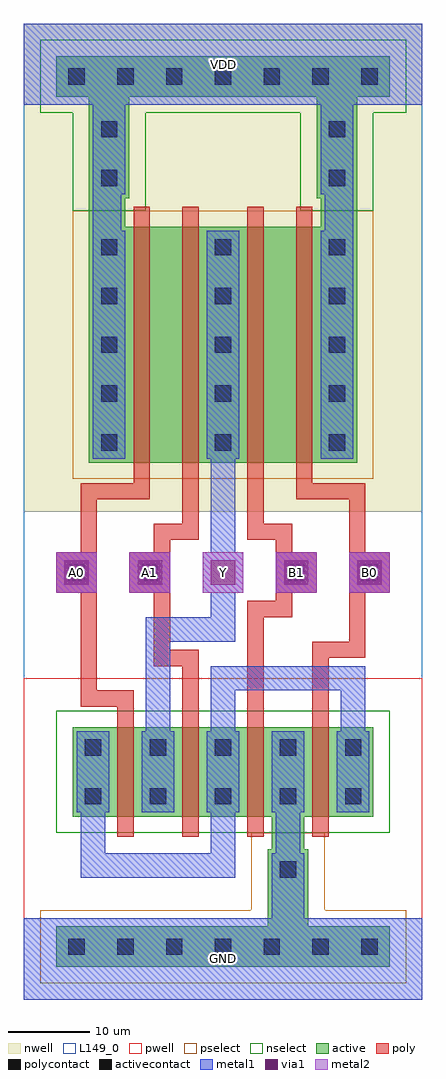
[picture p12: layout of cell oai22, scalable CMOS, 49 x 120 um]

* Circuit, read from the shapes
.subckt oai22 A0 A1 B0 B1 GND VDD Y
M1 Y A0 n1 GND nfet w=11u l=2u
M2 n1 A1 Y GND nfet w=11u l=2u
M3 GND B1 n1 GND nfet w=11u l=2u
M4 n1 B0 GND GND nfet w=11u l=2u
M5 n2 A0 VDD VDD pfet w=29u l=2u
M6 Y A1 n2 VDD pfet w=29u l=2u
M7 n3 B1 Y VDD pfet w=29u l=2u
M8 VDD B0 n3 VDD pfet w=29u l=2u
.ends

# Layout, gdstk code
import gdstk
lib = gdstk.Library(unit=1e-6, precision=1e-09)
def R(c, l, rs):  # rectangles x0, y0, x1, y1
    for r in rs: c.add(gdstk.rectangle(r[:2], r[2:], *l))
def A(c, l, x, y, w, h, nx, ny, dx, dy):  # array of equal rectangles
    R(c, l, [(x+i*dx, y+j*dy, x+i*dx+w, y+j*dy+h) for i in range(nx) for j in range(ny)])
pwell = (41, 0)
nwell = (42, 0)
active = (43, 0)
pselect = (44, 0)
nselect = (45, 0)
poly = (46, 0)
polycontact = (47, 0)
activecontact = (48, 0)
metal1 = (49, 0)
via1 = (50, 0)
metal2 = (51, 0)
L149_0 = (149, 0)

via = lib.new_cell('via')
R(via, metal1, [(-2.5,-2.5,2.5,2.5)])
R(via, via1, [(-1.5,-1.5,1.5,1.5)])
R(via, metal2, [(-2.5,-2.5,2.5,2.5)])

oai22 = lib.new_cell('oai22')
R(oai22, pwell, [(0,0,49,37), (0,16.5,49,39.5)])
R(oai22, nwell, [(0,60,49,120), (2,60,47,101)])
R(oai22, active, [(4,4,45,9), (30,9,35,18.5), (30.5,18.5,34.5,22.5), (6,22.5,43,33.5), (6,22.5,11.5,33.5), (37.5,22.5,43,33.5), (8,66,41,95), (8,66,13.5,95), (35.5,66,41,95), (8,95,12.5,98.5), (36.5,95,41,98.5), (8,98.5,13,111), (36,98.5,41,111), (4,111,45,116)])
R(oai22, pselect, [(2,2,47,11), (28,11,37,20.5), (6,64,43,97)])
R(oai22, nselect, [(4,20.5,45,35.5), (6,97,15,109), (34,97,43,109), (2,109,47,118)])
A(oai22, poly, 11.5, 20, 2, 2.5, 4, 2, 8, 13.5)
A(oai22, poly, 11.5, 22.5, 2, 11, 4, 1, 8, 0)
R(oai22, poly, [(4,50,9,55), (13,50,18,55), (31,50,36,55), (40,50,45,55), (13.5,63.5,15.5,66), (19.5,63.5,21.5,66), (27.5,63.5,29.5,66), (33.5,63.5,35.5,66), (13.5,66,15.5,95), (19.5,66,21.5,95), (27.5,66,29.5,95), (33.5,66,35.5,95), (13.5,95,15.5,97.5), (19.5,95,21.5,97.5), (27.5,95,29.5,97.5), (33.5,95,35.5,97.5)])
R(oai22, polycontact, [(5.5,51.5,7.5,53.5), (14.5,51.5,16.5,53.5), (32.5,51.5,34.5,53.5), (41.5,51.5,43.5,53.5)])
A(oai22, activecontact, 5.5, 5.5, 2, 2, 7, 2, 6, 107)
A(oai22, activecontact, 7.5, 24, 2, 2, 5, 2, 8, 6)
A(oai22, activecontact, 9.5, 67.5, 2, 2, 3, 5, 14, 6)
R(oai22, activecontact, [(31.5,15,33.5,17), (9.5,100,11.5,102), (37.5,100,39.5,102), (9.5,106,11.5,108), (37.5,106,39.5,108)])
A(oai22, metal1, 6.5, 23, 4, 10, 5, 1, 8, 0)
A(oai22, metal1, 8.5, 66.5, 4, 28, 3, 1, 14, 0)
R(oai22, metal1, [(0,0,49,10), (30.5,10,34.5,18), (31,18,34,23), (4.5,50.5,8.5,54.5), (13.5,50.5,17.5,54.5), (31.5,50.5,35.5,54.5), (40.5,50.5,44.5,54.5), (8.5,94.5,12,99), (37,94.5,40.5,99), (8.5,99,12.5,110), (36.5,99,40.5,110), (0,110,49,120)])
A(oai22, metal2, 4, 50, 5, 5, 5, 1, 9, 0)
R(oai22, L149_0, [(0,0,49,120)])
oai22.add(gdstk.FlexPath([(33.5,62.5),(41,62.5),(41,55)], 2, ends="flush", simple_path=True, layer=46, datatype=0))  # poly
oai22.add(gdstk.FlexPath([(32,55),(32,57.5),(28.5,57.5),(28.5,63.5)], 2, ends="flush", simple_path=True, layer=46, datatype=0))  # poly
oai22.add(gdstk.FlexPath([(15.5,62.5),(8,62.5),(8,55)], 2, ends="flush", simple_path=True, layer=46, datatype=0))  # poly
oai22.add(gdstk.FlexPath([(17,55),(17,57.5),(20.5,57.5),(20.5,63.5)], 2, ends="flush", simple_path=True, layer=46, datatype=0))  # poly
oai22.add(gdstk.FlexPath([(17,50),(17,42),(20.5,42),(20.5,36)], 2, ends="flush", simple_path=True, layer=46, datatype=0))  # poly
oai22.add(gdstk.FlexPath([(28.5,36),(28.5,48),(32,48),(32,50)], 2, ends="flush", simple_path=True, layer=46, datatype=0))  # poly
oai22.add(gdstk.FlexPath([(13.5,37),(8,37),(8,50)], 2, ends="flush", simple_path=True, layer=46, datatype=0))  # poly
oai22.add(gdstk.FlexPath([(41,50),(41,43),(36.5,43),(36.5,36)], 2, ends="flush", simple_path=True, layer=46, datatype=0))  # poly
oai22.add(gdstk.FlexPath([(24.5,50),(24.5,45.5),(16.5,45.5),(16.5,33)], 3, ends="flush", simple_path=True, layer=49, datatype=0))  # metal1
oai22.add(gdstk.FlexPath([(24.5,23),(24.5,16.5),(8.5,16.5),(8.5,23)], 3, ends="flush", simple_path=True, layer=49, datatype=0))  # metal1
oai22.add(gdstk.FlexPath([(24.5,66.5),(24.5,55)], 3, ends="flush", simple_path=True, layer=49, datatype=0))  # metal1
oai22.add(gdstk.FlexPath([(24.5,33),(24.5,39.5),(40.5,39.5),(40.5,33)], 3, ends="flush", simple_path=True, layer=49, datatype=0))  # metal1
oai22.add(gdstk.Reference(via, (6.5,52.5)))
oai22.add(gdstk.Reference(via, (33.5,52.5)))
oai22.add(gdstk.Reference(via, (15.5,52.5)))
oai22.add(gdstk.Reference(via, (24.5,52.5)))
oai22.add(gdstk.Reference(via, (42.5,52.5)))
oai22.add(gdstk.Label('GND', (24.5,5), layer=2, texttype=0))
oai22.add(gdstk.Label('VDD', (24.5,115), layer=2, texttype=0))
oai22.add(gdstk.Label('A1', (15.5,52.5), layer=3, texttype=0))
oai22.add(gdstk.Label('B0', (42.5,52.5), layer=3, texttype=0))
oai22.add(gdstk.Label('A0', (6.5,52.5), layer=3, texttype=0))
oai22.add(gdstk.Label('B1', (33.5,52.5), layer=3, texttype=0))
oai22.add(gdstk.Label('Y', (24.5,52.5), layer=3, texttype=0))
oai22.add(gdstk.Label('GND', (24.5,5), layer=2, texttype=0))
oai22.add(gdstk.Label('VDD', (24.5,115), layer=2, texttype=0))
oai22.add(gdstk.Label('A1', (15.5,52.5), layer=3, texttype=0))
oai22.add(gdstk.Label('B0', (42.5,52.5), layer=3, texttype=0))
oai22.add(gdstk.Label('A0', (6.5,52.5), layer=3, texttype=0))
oai22.add(gdstk.Label('B1', (33.5,52.5), layer=3, texttype=0))
oai22.add(gdstk.Label('Y', (24.5,52.5), layer=3, texttype=0))

lib.write_gds('oai22.gds')
